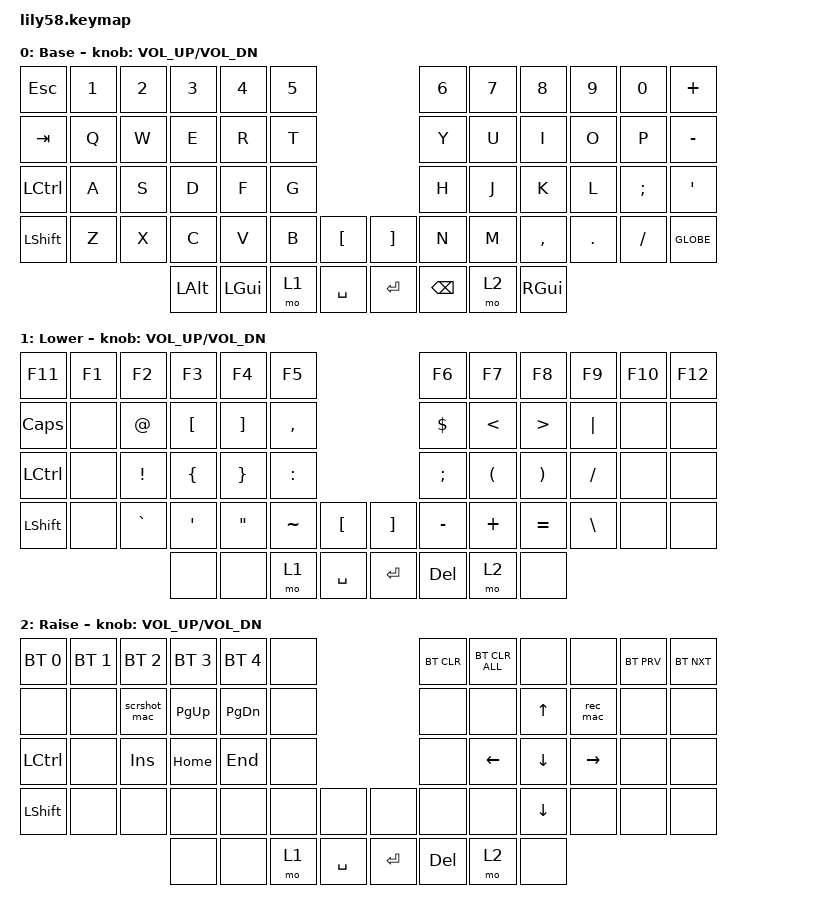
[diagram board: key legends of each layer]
/*
 * Copyright (c) 2020 The ZMK Contributors
 *
 * SPDX-License-Identifier: MIT
 */

#include <behaviors.dtsi>
#include <dt-bindings/zmk/bt.h>
#include <dt-bindings/zmk/keys.h>

/ {
    macros {
        scrshot_mac: screenshot_mac {
            compatible = "zmk,behavior-macro";
            #binding-cells = <0>;
            bindings = <&kp LEFT_COMMAND &kp LEFT_SHIFT &kp NUMBER_4>;
            label = "SCREENSHOT_MAC";
        };

        rec_mac: rec_mac {
            compatible = "zmk,behavior-macro";
            #binding-cells = <0>;
            bindings = <&kp LEFT_COMMAND &kp LEFT_SHIFT &kp N5>;
            label = "REC_MAC";
        };
    };

    keymap {
        compatible = "zmk,keymap";

        default_layer {
            // ------------------------------------------------------------------------------------------------------------
            // |  ESC  |  1  |  2  |  3   |  4   |  5   |                   |  6   |  7    |  8    |  9   |   0   |   `   |
            // |  TAB  |  Q  |  W  |  E   |  R   |  T   |                   |  Y   |  U    |  I    |  O   |   P   |   -   |
            // |  CTRL |  A  |  S  |  D   |  F   |  G   |                   |  H   |  J    |  K    |  L   |   ;   |   '   |
            // | SHIFT |  Z  |  X  |  C   |  V   |  B   |   "["  |  |  "]"  |  N   |  M    |  ,    |  .   |   /   | SHIFT |
            //                     | ALT  | GUI  | LOWER|  SPACE |  | ENTER | RAISE| BSPC  | GUI   |

            display-name = "Base";
            bindings = <
&kp ESC    &kp N1  &kp N2  &kp N3    &kp N4    &kp N5                         &kp N6         &kp N7  &kp N8     &kp N9   &kp N0    &kp PLUS
&kp TAB    &kp Q   &kp W   &kp E     &kp R     &kp T                          &kp Y          &kp U   &kp I      &kp O    &kp P     &kp MINUS
&kp LCTRL  &kp A   &kp S   &kp D     &kp F     &kp G                          &kp H          &kp J   &kp K      &kp L    &kp SEMI  &kp SQT
&kp LSHFT  &kp Z   &kp X   &kp C     &kp V     &kp B   &kp LBKT     &kp RBKT  &kp N          &kp M   &kp COMMA  &kp DOT  &kp FSLH  &kp GLOBE
                           &kp LALT  &kp LGUI  &mo 1   &kp SPACE    &kp RET   &kp BACKSPACE  &mo 2   &kp RGUI
            >;

            sensor-bindings = <&inc_dec_kp C_VOL_UP C_VOL_DN>;
        };

        symbols {
            // ------------------------------------------------------------------------------------------------------------
            // | BTCLR | BT1 | BT2 |  BT3 |  BT4 |  BT5 |                   |      |       |       |      |       |       |
            // |  F1   |  F2 |  F3 |  F4  |  F5  |  F6  |                   |  F7  |  F8   |  F9   |  F10 |  F11  |  F12  |
            // |   `   |  !  |  @  |  #   |  $   |  %   |                   |  ^   |  &    |  *    |  (   |   )   |   ~   |
            // |       |     |     |      |      |      |        |  |       |      |  _    |  +    |  {   |   }   |  "|"  |
            //                     |      |      |      |        |  |       |      |       |       |

            display-name = "Lower";
            bindings = <
&kp F11         &kp F1  &kp F2           &kp F3            &kp F4             &kp F5                             &kp F6         &kp F7                &kp F8                 &kp F9         &kp F10  &kp F12
&kp CLCK        &none   &kp AT_SIGN      &kp LBKT          &kp RBKT           &kp COMMA                          &kp DOLLAR     &kp LESS_THAN         &kp GREATER_THAN       &kp PIPE       &none    &none
&kp LCTRL       &none   &kp EXCLAMATION  &kp LEFT_BRACE    &kp RIGHT_BRACE    &kp COLON                          &kp SEMICOLON  &kp LEFT_PARENTHESIS  &kp RIGHT_PARENTHESIS  &kp SLASH      &none    &none
&kp LEFT_SHIFT  &none   &kp GRAVE        &kp SINGLE_QUOTE  &kp DOUBLE_QUOTES  &kp TILDE  &kp LBKT     &kp RBKT   &kp MINUS      &kp PLUS              &kp EQUAL              &kp BACKSLASH  &none    &none
                                         &none             &none              &mo 1      &kp SPACE    &kp ENTER  &kp DEL        &mo 2                 &none
            >;

            sensor-bindings = <&inc_dec_kp C_VOL_UP C_VOL_DN>;
        };

        navigation {
            // ------------------------------------------------------------------------------------------------------------
            // |       |     |     |      |      |      |                   |      |       |       |      |       |       |
            // |   `   |  1  |  2  |  3   |  4   |  5   |                   |  6   |   7   |   8   |  9   |   0   |       |
            // |   F1  |  F2 |  F3 |  F4  |  F5  |  F6  |                   |      |   <-  |   v   |  ^   |  ->   |       |
            // |   F7  |  F8 |  F9 |  F10 |  F11 |  F12 |        |  |       |  +   |   -   |   =   |  [   |   ]   |   \   |
            //                     |      |      |      |        |  |       |      |       |       |

            display-name = "Raise";
            bindings = <
&bt BT_SEL 0    &bt BT_SEL 1  &bt BT_SEL 2  &bt BT_SEL 3  &bt BT_SEL 4   &none                        &bt BT_CLR  &bt BT_CLR_ALL  &none     &none      &bt BT_PRV  &bt BT_NXT
&none           &none         &scrshot_mac  &kp PAGE_UP   &kp PAGE_DOWN  &none                        &none       &none           &kp UP    &rec_mac   &none       &none
&kp LCTRL       &none         &kp INSERT    &kp HOME      &kp END        &none                        &none       &kp LEFT        &kp DOWN  &kp RIGHT  &none       &none
&kp LEFT_SHIFT  &none         &none         &none         &none          &none  &none        &none    &none       &none           &kp DOWN  &none      &none       &none
                                            &none         &none          &mo 1  &kp SPACE    &kp RET  &kp DEL     &mo 2           &none
            >;

            sensor-bindings = <&inc_dec_kp C_VOL_UP C_VOL_DN>;
        };
    };
};
